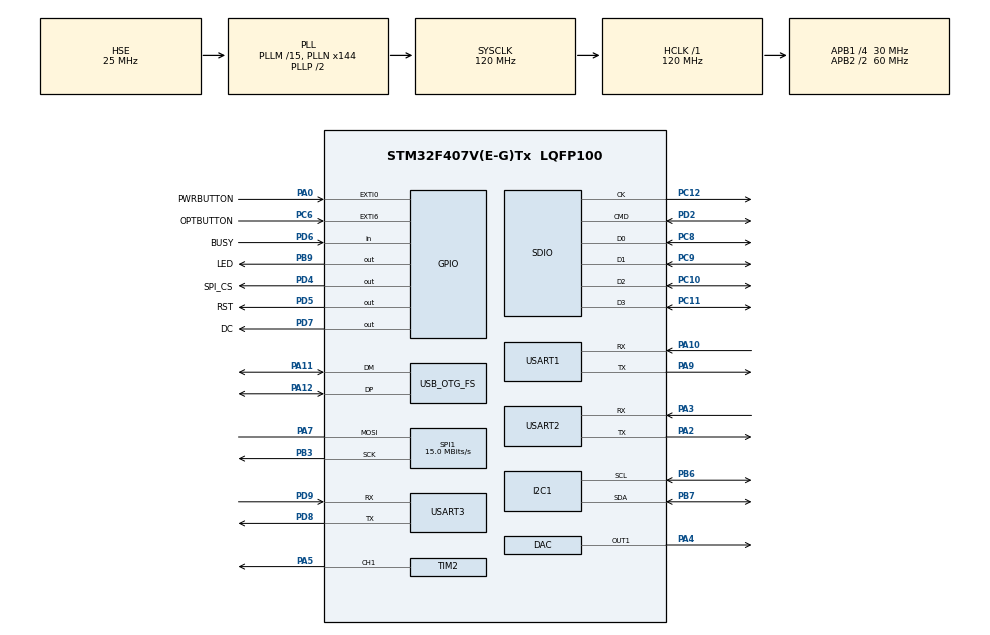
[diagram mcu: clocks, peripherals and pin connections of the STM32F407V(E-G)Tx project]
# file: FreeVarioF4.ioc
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DAC.DAC_Trigger=DAC_TRIGGER_T6_TRGO
Dma.DAC1.0.Direction=DMA_MEMORY_TO_PERIPH
Dma.DAC1.0.FIFOMode=DMA_FIFOMODE_DISABLE
Dma.DAC1.0.Instance=DMA1_Stream5
Dma.DAC1.0.MemDataAlignment=DMA_MDATAALIGN_HALFWORD
Dma.DAC1.0.MemInc=DMA_MINC_ENABLE
Dma.DAC1.0.Mode=DMA_CIRCULAR
Dma.DAC1.0.PeriphDataAlignment=DMA_PDATAALIGN_HALFWORD
Dma.DAC1.0.PeriphInc=DMA_PINC_DISABLE
Dma.DAC1.0.Priority=DMA_PRIORITY_LOW
Dma.Request0=DAC1
Dma.Request1=SDIO_RX
Dma.Request2=SDIO_TX
Dma.Request3=USART3_RX
Dma.Request4=USART1_TX
Dma.SDIO_RX.1.Direction=DMA_PERIPH_TO_MEMORY
Dma.SDIO_RX.1.FIFOMode=DMA_FIFOMODE_ENABLE
Dma.SDIO_RX.1.FIFOThreshold=DMA_FIFO_THRESHOLD_FULL
Dma.SDIO_RX.1.Instance=DMA2_Stream3
Dma.SDIO_RX.1.MemBurst=DMA_MBURST_INC4
Dma.SDIO_RX.1.MemDataAlignment=DMA_MDATAALIGN_WORD
Dma.SDIO_RX.1.MemInc=DMA_MINC_ENABLE
Dma.SDIO_RX.1.Mode=DMA_PFCTRL
Dma.SDIO_RX.1.PeriphBurst=DMA_PBURST_INC4
Dma.SDIO_RX.1.PeriphDataAlignment=DMA_PDATAALIGN_WORD
Dma.SDIO_RX.1.PeriphInc=DMA_PINC_DISABLE
Dma.SDIO_RX.1.Priority=DMA_PRIORITY_LOW
Dma.SDIO_TX.2.Direction=DMA_MEMORY_TO_PERIPH
Dma.SDIO_TX.2.FIFOMode=DMA_FIFOMODE_ENABLE
Dma.SDIO_TX.2.FIFOThreshold=DMA_FIFO_THRESHOLD_FULL
Dma.SDIO_TX.2.Instance=DMA2_Stream6
Dma.SDIO_TX.2.MemBurst=DMA_MBURST_INC4
Dma.SDIO_TX.2.MemDataAlignment=DMA_MDATAALIGN_WORD
Dma.SDIO_TX.2.MemInc=DMA_MINC_ENABLE
Dma.SDIO_TX.2.Mode=DMA_PFCTRL
Dma.SDIO_TX.2.PeriphBurst=DMA_PBURST_INC4
Dma.SDIO_TX.2.PeriphDataAlignment=DMA_PDATAALIGN_WORD
Dma.SDIO_TX.2.PeriphInc=DMA_PINC_DISABLE
Dma.SDIO_TX.2.Priority=DMA_PRIORITY_LOW
Dma.USART1_TX.4.Direction=DMA_MEMORY_TO_PERIPH
Dma.USART1_TX.4.FIFOMode=DMA_FIFOMODE_DISABLE
Dma.USART1_TX.4.Instance=DMA2_Stream7
Dma.USART1_TX.4.MemDataAlignment=DMA_MDATAALIGN_BYTE
Dma.USART1_TX.4.MemInc=DMA_MINC_ENABLE
Dma.USART1_TX.4.Mode=DMA_NORMAL
Dma.USART1_TX.4.PeriphDataAlignment=DMA_PDATAALIGN_BYTE
Dma.USART1_TX.4.PeriphInc=DMA_PINC_DISABLE
Dma.USART1_TX.4.Priority=DMA_PRIORITY_LOW
Dma.USART3_RX.3.Direction=DMA_PERIPH_TO_MEMORY
Dma.USART3_RX.3.FIFOMode=DMA_FIFOMODE_DISABLE
Dma.USART3_RX.3.Instance=DMA1_Stream1
Dma.USART3_RX.3.MemDataAlignment=DMA_MDATAALIGN_BYTE
Dma.USART3_RX.3.MemInc=DMA_MINC_ENABLE
Dma.USART3_RX.3.Mode=DMA_NORMAL
Dma.USART3_RX.3.PeriphDataAlignment=DMA_PDATAALIGN_BYTE
Dma.USART3_RX.3.PeriphInc=DMA_PINC_DISABLE
Dma.USART3_RX.3.Priority=DMA_PRIORITY_LOW
FATFS.BSP.number=1
FATFS._USE_EXPAND=1
FATFS._USE_LFN=3
FATFS0.BSP.STBoard=false
FATFS0.BSP.api=Unknown
FATFS0.BSP.instance=PD6
FATFS0.BSP.ip=GPIO
FATFS0.BSP.mode=Input
FATFS0.BSP.name=Detect_SDIO
FATFS0.BSP.solution=PD6
FREERTOS.INCLUDE_vTaskDelayUntil=1
FREERTOS.Mutexes01=confMutex,Dynamic,NULL;sdCardMutex,Dynamic,NULL
FREERTOS.Tasks01=defaultTask,0,1024,StartDefaultTask,Default,NULL,Dynamic,NULL,NULL;displayTask,-1,2048,StartDisplayTask,Default,NULL,Dynamic,NULL,NULL;sensorsTask,0,1024,StartSensorsTask,Default,NULL,Dynamic,NULL,NULL;gpsTask,0,2048,StartGPSTask,Default,NULL,Dynamic,NULL,NULL;sendDataTask,1,2048,StartSendDataTask,Default,NULL,Dynamic,NULL,NULL;audioTask,0,1024,StartAudioTask,Default,NULL,Dynamic,NULL,NULL;loggerTask,0,2048,StartLoggerTask,Default,NULL,Dynamic,NULL,NULL
FREERTOS.configTOTAL_HEAP_SIZE=54000
I2C1.I2C_Mode=I2C_Fast
Mcu.Family=STM32F4
Mcu.Name=STM32F407V(E-G)Tx
Mcu.Package=LQFP100
NVIC.DMA1_Stream1_IRQn=true\:5\:0\:false\:false\:true\:true\:false
NVIC.DMA1_Stream5_IRQn=true\:5\:0\:false\:false\:true\:true\:false
NVIC.DMA2_Stream3_IRQn=true\:5\:0\:false\:false\:true\:true\:false
NVIC.DMA2_Stream6_IRQn=true\:5\:0\:false\:false\:true\:true\:false
NVIC.DMA2_Stream7_IRQn=true\:5\:0\:false\:false\:true\:true\:false
NVIC.EXTI0_IRQn=true\:5\:0\:false\:false\:true\:true\:true
NVIC.EXTI9_5_IRQn=true\:5\:0\:false\:false\:true\:true\:true
NVIC.OTG_FS_IRQn=true\:5\:0\:false\:false\:true\:true\:false
NVIC.PriorityGroup=NVIC_PRIORITYGROUP_4
NVIC.SDIO_IRQn=true\:5\:0\:false\:false\:true\:true\:true
NVIC.TIM5_IRQn=true\:0\:0\:false\:false\:true\:false\:false
NVIC.TimeBase=TIM5_IRQn
NVIC.TimeBaseIP=TIM5
NVIC.USART1_IRQn=true\:5\:0\:false\:false\:true\:true\:true
NVIC.USART3_IRQn=true\:5\:0\:false\:false\:true\:true\:true
PA0-WKUP.GPIO_Label=PWRBUTTON
PA0-WKUP.GPIO_ModeDefaultEXTI=GPIO_MODE_IT_RISING
PA0-WKUP.Signal=GPXTI0
PA10.Mode=Asynchronous
PA10.Signal=USART1_RX
PA11.Mode=Device_Only
PA11.Signal=USB_OTG_FS_DM
PA12.Mode=Device_Only
PA12.Signal=USB_OTG_FS_DP
PA13.Mode=Serial_Wire
PA13.Signal=SYS_JTMS-SWDIO
PA14.Mode=Serial_Wire
PA14.Signal=SYS_JTCK-SWCLK
PA2.Mode=Asynchronous
PA2.Signal=USART2_TX
PA3.Mode=Asynchronous
PA3.Signal=USART2_RX
PA4.Signal=COMP_DAC1_group
PA5.Signal=S_TIM2_CH1_ETR
PA7.Mode=Simplex_Bidirectional_Master
PA7.Signal=SPI1_MOSI
PA9.Mode=Asynchronous
PA9.Signal=USART1_TX
PB3.Mode=Simplex_Bidirectional_Master
PB3.Signal=SPI1_SCK
PB6.Mode=I2C
PB6.Signal=I2C1_SCL
PB7.Mode=I2C
PB7.Signal=I2C1_SDA
PB9.GPIO_Label=LED
PB9.Signal=GPIO_Output
PC10.GPIO_PuPd=GPIO_PULLUP
PC10.Mode=SD_4_bits_Wide_bus
PC10.Signal=SDIO_D2
PC11.GPIO_PuPd=GPIO_PULLUP
PC11.Mode=SD_4_bits_Wide_bus
PC11.Signal=SDIO_D3
PC12.Mode=SD_4_bits_Wide_bus
PC12.Signal=SDIO_CK
PC14-OSC32_IN.Mode=LSE-External-Oscillator
PC14-OSC32_IN.Signal=RCC_OSC32_IN
PC15-OSC32_OUT.Mode=LSE-External-Oscillator
PC15-OSC32_OUT.Signal=RCC_OSC32_OUT
PC6.GPIO_Label=OPTBUTTON
PC6.Signal=GPXTI6
PC8.GPIO_PuPd=GPIO_PULLUP
PC8.Mode=SD_4_bits_Wide_bus
PC8.Signal=SDIO_D0
PC9.GPIO_PuPd=GPIO_PULLUP
PC9.Mode=SD_4_bits_Wide_bus
PC9.Signal=SDIO_D1
PD2.GPIO_PuPd=GPIO_PULLUP
PD2.Mode=SD_4_bits_Wide_bus
PD2.Signal=SDIO_CMD
PD4.GPIO_Label=SPI_CS
PD4.Signal=GPIO_Output
PD5.GPIO_Label=RST
PD5.Signal=GPIO_Output
PD6.GPIO_Label=BUSY
PD6.Signal=GPIO_Input
PD7.GPIO_Label=DC
PD7.Signal=GPIO_Output
PD8.Mode=Asynchronous
PD8.Signal=USART3_TX
PD9.Mode=Asynchronous
PD9.Signal=USART3_RX
PH0-OSC_IN.Mode=HSE-External-Oscillator
PH0-OSC_IN.Signal=RCC_OSC_IN
PH1-OSC_OUT.Mode=HSE-External-Oscillator
PH1-OSC_OUT.Signal=RCC_OSC_OUT
ProjectManager.HeapSize=0x200
ProjectManager.StackSize=0x400
ProjectManager.TargetToolchain=TrueSTUDIO
RCC.48MHZClocksFreq_Value=48000000
RCC.AHBFreq_Value=120000000
RCC.APB1CLKDivider=RCC_HCLK_DIV4
RCC.APB1Freq_Value=30000000
RCC.APB1TimFreq_Value=60000000
RCC.APB2CLKDivider=RCC_HCLK_DIV2
RCC.APB2Freq_Value=60000000
RCC.APB2TimFreq_Value=120000000
RCC.CortexFreq_Value=120000000
RCC.HCLKFreq_Value=120000000
RCC.HSE_VALUE=25000000
RCC.HSI_VALUE=16000000
RCC.PLLM=15
RCC.PLLN=144
RCC.PLLQ=5
RCC.SYSCLKFreq_VALUE=120000000
RCC.SYSCLKSource=RCC_SYSCLKSOURCE_PLLCLK
RCC.VCOOutputFreq_Value=240000000
SDIO.ClockDiv=0
SH.COMP_DAC1_group.0=DAC_OUT1,DAC_OUT1
SH.S_TIM2_CH1_ETR.0=TIM2_CH1,PWM Generation1 CH1
SPI1.BaudRatePrescaler=SPI_BAUDRATEPRESCALER_4
SPI1.CalculateBaudRate=15.0 MBits/s
SPI1.Direction=SPI_DIRECTION_1LINE
SPI1.Mode=SPI_MODE_MASTER
SPI1.VirtualType=VM_MASTER
TIM2.Channel-PWM\ Generation1\ CH1=TIM_CHANNEL_1
TIM6.TIM_MasterOutputTrigger=TIM_TRGO_UPDATE
USART1.VirtualMode=VM_ASYNC
USART2.VirtualMode=VM_ASYNC
USART3.VirtualMode=VM_ASYNC
USB_DEVICE.CLASS_NAME_FS=CDC
USB_DEVICE.VirtualMode-CDC_FS=Cdc
USB_DEVICE.VirtualModeFS=Cdc_FS
USB_OTG_FS.VirtualMode=Device_Only
VP_FATFS_VS_SDIO.Mode=SDIO
VP_FREERTOS_VS_ENABLE.Mode=Enabled
VP_SYS_VS_tim5.Mode=TIM5
VP_TIM2_VS_ClockSourceINT.Mode=Internal
VP_TIM6_VS_ClockSourceINT.Mode=Enable_Timer
VP_USB_DEVICE_VS_USB_DEVICE_CDC_FS.Mode=CDC_FS
board=custom

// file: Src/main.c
/**
  ******************************************************************************
  * @file           : main.c
  * @brief          : Main program body
  ******************************************************************************
  * This notice applies to any and all portions of this file
  * that are not between comment pairs USER CODE BEGIN and
  * USER CODE END. Other portions of this file, whether
  * inserted by the user or by software development tools
  * are owned by their respective copyright owners.
  *
  * Copyright (c) 2018 STMicroelectronics International N.V.
  * All rights reserved.
  *
  * Redistribution and use in source and binary forms, with or without
  * modification, are permitted, provided that the following conditions are met:
  *
  * 1. Redistribution of source code must retain the above copyright notice,
  *    this list of conditions and the following disclaimer.
  * 2. Redistributions in binary form must reproduce the above copyright notice,
  *    this list of conditions and the following disclaimer in the documentation
  *    and/or other materials provided with the distribution.
  * 3. Neither the name of STMicroelectronics nor the names of other
  *    contributors to this software may be used to endorse or promote products
  *    derived from this software without specific written permission.
  * 4. This software, including modifications and/or derivative works of this
  *    software, must execute solely and exclusively on microcontroller or
  *    microprocessor devices manufactured by or for STMicroelectronics.
  * 5. Redistribution and use of this software other than as permitted under
  *    this license is void and will automatically terminate your rights under
  *    this license.
  *
  * THIS SOFTWARE IS PROVIDED BY STMICROELECTRONICS AND CONTRIBUTORS "AS IS"
  * AND ANY EXPRESS, IMPLIED OR STATUTORY WARRANTIES, INCLUDING, BUT NOT
  * LIMITED TO, THE IMPLIED WARRANTIES OF MERCHANTABILITY, FITNESS FOR A
  * PARTICULAR PURPOSE AND NON-INFRINGEMENT OF THIRD PARTY INTELLECTUAL PROPERTY
  * RIGHTS ARE DISCLAIMED TO THE FULLEST EXTENT PERMITTED BY LAW. IN NO EVENT
  * SHALL STMICROELECTRONICS OR CONTRIBUTORS BE LIABLE FOR ANY DIRECT, INDIRECT,
  * INCIDENTAL, SPECIAL, EXEMPLARY, OR CONSEQUENTIAL DAMAGES (INCLUDING, BUT NOT
  * LIMITED TO, PROCUREMENT OF SUBSTITUTE GOODS OR SERVICES; LOSS OF USE, DATA,
  * OR PROFITS; OR BUSINESS INTERRUPTION) HOWEVER CAUSED AND ON ANY THEORY OF
  * LIABILITY, WHETHER IN CONTRACT, STRICT LIABILITY, OR TORT (INCLUDING
  * NEGLIGENCE OR OTHERWISE) ARISING IN ANY WAY OUT OF THE USE OF THIS SOFTWARE,
  * EVEN IF ADVISED OF THE POSSIBILITY OF SUCH DAMAGE.
  *
  ******************************************************************************
  */
#include "main.h"
#include "stm32f4xx_hal.h"
#include "cmsis_os.h"
#include "dac.h"
#include "dma.h"
#include "fatfs.h"
#include "i2c.h"
#include "sdio.h"
#include "spi.h"
#include "tim.h"
#include "usart.h"
#include "usb_device.h"
#include "gpio.h"

/* USER CODE BEGIN PV */
/* Private variables ---------------------------------------------------------*/

/* USER CODE END PV */

void SystemClock_Config(void);
void MX_FREERTOS_Init(void);

/* USER CODE BEGIN PFP */
/* Private function prototypes -----------------------------------------------*/

/* USER CODE END PFP */

int main(void)
{

  /* MCU Configuration----------------------------------------------------------*/

  /* Reset of all peripherals, Initializes the Flash interface and the Systick. */
  HAL_Init();

  /* Configure the system clock */
  SystemClock_Config();

  /* Initialize all configured peripherals */
  MX_GPIO_Init();
  MX_DMA_Init();
  MX_USART1_UART_Init();
  MX_I2C1_Init();
  MX_SDIO_SD_Init();
  MX_TIM6_Init();
  MX_DAC_Init();
  MX_USART3_UART_Init();
  MX_SPI1_Init();
  MX_USART2_UART_Init();
  MX_TIM2_Init();

  /* Call init function for freertos objects (in freertos.c) */
  MX_FREERTOS_Init();

  /* Start scheduler */
  osKernelStart();

  /* We should never get here as control is now taken by the scheduler */

  /* Infinite loop */
  while (1)
  {

  }

}

void SystemClock_Config(void)
{

  RCC_OscInitTypeDef RCC_OscInitStruct;
  RCC_ClkInitTypeDef RCC_ClkInitStruct;

    /**Configure the main internal regulator output voltage
    */
  __HAL_RCC_PWR_CLK_ENABLE();

  __HAL_PWR_VOLTAGESCALING_CONFIG(PWR_REGULATOR_VOLTAGE_SCALE1);

    /**Initializes the CPU, AHB and APB busses clocks
    */
  RCC_OscInitStruct.OscillatorType = RCC_OSCILLATORTYPE_HSE;
  RCC_OscInitStruct.HSEState = RCC_HSE_ON;
  RCC_OscInitStruct.PLL.PLLState = RCC_PLL_ON;
  RCC_OscInitStruct.PLL.PLLSource = RCC_PLLSOURCE_HSE;
  RCC_OscInitStruct.PLL.PLLM = 15;
  RCC_OscInitStruct.PLL.PLLN = 144;
  RCC_OscInitStruct.PLL.PLLP = RCC_PLLP_DIV2;
  RCC_OscInitStruct.PLL.PLLQ = 5;
  if (HAL_RCC_OscConfig(&RCC_OscInitStruct) != HAL_OK)
  {
    _Error_Handler(__FILE__, __LINE__);
  }

    /**Initializes the CPU, AHB and APB busses clocks
    */
  RCC_ClkInitStruct.ClockType = RCC_CLOCKTYPE_HCLK|RCC_CLOCKTYPE_SYSCLK
                              |RCC_CLOCKTYPE_PCLK1|RCC_CLOCKTYPE_PCLK2;
  RCC_ClkInitStruct.SYSCLKSource = RCC_SYSCLKSOURCE_PLLCLK;
  RCC_ClkInitStruct.AHBCLKDivider = RCC_SYSCLK_DIV1;
  RCC_ClkInitStruct.APB1CLKDivider = RCC_HCLK_DIV4;
  RCC_ClkInitStruct.APB2CLKDivider = RCC_HCLK_DIV2;

  if (HAL_RCC_ClockConfig(&RCC_ClkInitStruct, FLASH_LATENCY_3) != HAL_OK)
  {
    _Error_Handler(__FILE__, __LINE__);
  }

    /**Configure the Systick interrupt time
    */
  HAL_SYSTICK_Config(HAL_RCC_GetHCLKFreq()/1000);

    /**Configure the Systick
    */
  HAL_SYSTICK_CLKSourceConfig(SYSTICK_CLKSOURCE_HCLK);

  /* SysTick_IRQn interrupt configuration */
  HAL_NVIC_SetPriority(SysTick_IRQn, 15, 0);
}

void HAL_TIM_PeriodElapsedCallback(TIM_HandleTypeDef *htim)
{
  if (htim->Instance == TIM5) {
    HAL_IncTick();
  }
}

void _Error_Handler(char *file, int line)
{
  while(1)
  {
  }
}

/************************ (C) COPYRIGHT STMicroelectronics *****END OF FILE****/

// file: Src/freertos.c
/* USER CODE BEGIN Header */
/**
 ******************************************************************************
 * File Name          : freertos.c
 * Description        : Code for freertos applications
 ******************************************************************************
 * This notice applies to any and all portions of this file
 * that are not between comment pairs USER CODE BEGIN and
 * USER CODE END. Other portions of this file, whether
 * inserted by the user or by software development tools
 * are owned by their respective copyright owners.
 *
 * Copyright (c) 2018 STMicroelectronics International N.V.
 * All rights reserved.
 *
 * Redistribution and use in source and binary forms, with or without
 * modification, are permitted, provided that the following conditions are met:
 *
 * 1. Redistribution of source code must retain the above copyright notice,
 *    this list of conditions and the following disclaimer.
 * 2. Redistributions in binary form must reproduce the above copyright notice,
 *    this list of conditions and the following disclaimer in the documentation
 *    and/or other materials provided with the distribution.
 * 3. Neither the name of STMicroelectronics nor the names of other
 *    contributors to this software may be used to endorse or promote products
 *    derived from this software without specific written permission.
 * 4. This software, including modifications and/or derivative works of this
 *    software, must execute solely and exclusively on microcontroller or
 *    microprocessor devices manufactured by or for STMicroelectronics.
 * 5. Redistribution and use of this software other than as permitted under
 *    this license is void and will automatically terminate your rights under
 *    this license.
 *
 * THIS SOFTWARE IS PROVIDED BY STMICROELECTRONICS AND CONTRIBUTORS "AS IS"
 * AND ANY EXPRESS, IMPLIED OR STATUTORY WARRANTIES, INCLUDING, BUT NOT
 * LIMITED TO, THE IMPLIED WARRANTIES OF MERCHANTABILITY, FITNESS FOR A
 * PARTICULAR PURPOSE AND NON-INFRINGEMENT OF THIRD PARTY INTELLECTUAL PROPERTY
 * RIGHTS ARE DISCLAIMED TO THE FULLEST EXTENT PERMITTED BY LAW. IN NO EVENT
 * SHALL STMICROELECTRONICS OR CONTRIBUTORS BE LIABLE FOR ANY DIRECT, INDIRECT,
 * INCIDENTAL, SPECIAL, EXEMPLARY, OR CONSEQUENTIAL DAMAGES (INCLUDING, BUT NOT
 * LIMITED TO, PROCUREMENT OF SUBSTITUTE GOODS OR SERVICES; LOSS OF USE, DATA,
 * OR PROFITS; OR BUSINESS INTERRUPTION) HOWEVER CAUSED AND ON ANY THEORY OF
 * LIABILITY, WHETHER IN CONTRACT, STRICT LIABILITY, OR TORT (INCLUDING
 * NEGLIGENCE OR OTHERWISE) ARISING IN ANY WAY OUT OF THE USE OF THIS SOFTWARE,
 * EVEN IF ADVISED OF THE POSSIBILITY OF SUCH DAMAGE.
 *
 ******************************************************************************
 */
/* USER CODE END Header */

#include "FreeRTOS.h"
#include "task.h"
#include "main.h"
#include "cmsis_os.h"

/* USER CODE BEGIN Includes */
#include <displaytask.h>
#include <globaldata.h>
#include <readsensors.h>
#include "fatfs.h"
#include "audio.h"
#include <sd_hal_mpu6050.h>
#include "gps.h"
#include <string.h>
#include "nmea.h"
#include "usbd_cdc_if.h"
#include "datalog.h"
/* USER CODE END Includes */

/* USER CODE BEGIN PM */
#define SENDBUFFER 256
/* USER CODE END PM */

/* USER CODE BEGIN Variables */

/* FV CCM memory allocation-----------------------------------------------------*/
unsigned char * frame_buffer[EPD_WIDTH * EPD_HEIGHT / 8] __attribute__((section(".ccmram")));
Paint  paint __attribute__((section(".ccmram")));
SensorData sensors __attribute__((section(".ccmram")));
ActivityData activity __attribute__((section(".ccmram")));
DataLog datalog __attribute__((section(".ccmram")));
gps_t  hgps __attribute__((section(".ccmram")));
settings_t conf __attribute__((section(".ccmram")));
uint8_t nmeasendbuffer[SENDBUFFER] __attribute__((section(".ccmram")));
/*-----------------------------------------------------------------------------*/

/* FV Task allocation----------------------------------------------------------*/

TaskHandle_t xReceiveNotify = NULL;
TaskHandle_t xSendDataNotify = NULL;
TaskHandle_t xDisplayNotify = NULL;
TaskHandle_t xLogDataNotify = NULL;

/* FV Queues  -----------------------------------------------------------------*/

QueueHandle_t uartQueueHandle;

/* FV Semaphores and Mutexes---------------------------------------------------*/

/*-----------------------------------------------------------------------------*/

extern UART_HandleTypeDef huart1;
extern UART_HandleTypeDef huart3;
extern char SDPath[4]; /* SD logical drive path */
extern FATFS SDFatFS; /* File system object for SD logical drive */
__IO uint8_t UserPowerButton = 0;
__IO uint8_t UserOptButton = 0;
uint8_t SDcardMounted = 0;

/* USER CODE END Variables */
osThreadId defaultTaskHandle;
osThreadId displayTaskHandle;
osThreadId sensorsTaskHandle;
osThreadId gpsTaskHandle;
osThreadId sendDataTaskHandle;
osThreadId audioTaskHandle;
osThreadId loggerTaskHandle;
osMutexId confMutexHandle;
osMutexId sdCardMutexHandle;

/* USER CODE BEGIN FunctionPrototypes */

void HAL_UART_RxCpltCallback(UART_HandleTypeDef *UartHandle) {

	BaseType_t xHigherPriorityTaskWoken = pdFALSE;
	vTaskNotifyGiveFromISR(xReceiveNotify, &xHigherPriorityTaskWoken);

	xReceiveNotify = NULL;
	portYIELD_FROM_ISR(xHigherPriorityTaskWoken);

}

void HAL_UART_RxIdleCallback(UART_HandleTypeDef *UartHandle) {
	__HAL_UART_DISABLE_IT(UartHandle, UART_IT_IDLE);
//
//		BaseType_t xHigherPriorityTaskWoken = pdFALSE;
//		vTaskNotifyGiveFromISR( xTaskToNotify, &xHigherPriorityTaskWoken );
//		xTaskToNotify = NULL;
//	    portYIELD_FROM_ISR( xHigherPriorityTaskWoken );

}

void HAL_UART_TxCpltCallback(UART_HandleTypeDef *UartHandle) {

	BaseType_t xHigherPriorityTaskWoken = pdFALSE;
	vTaskNotifyGiveFromISR(xSendDataNotify, &xHigherPriorityTaskWoken);
	xSendDataNotify = NULL;
	portYIELD_FROM_ISR(xHigherPriorityTaskWoken);

}

/**
 * @brief EXTI line detection callbacks
 * @param GPIO_Pin: Specifies the pins connected EXTI line
 * @retval None
 */
void HAL_GPIO_EXTI_Callback(uint16_t GPIO_Pin) {
	if (GPIO_Pin == PWRBUTTON_Pin) {
		/* Set the variable: button pressed */
		if (HAL_GetTick() > 5000) {
			UserPowerButton = 1;
		}
	}else if (GPIO_Pin == OPTBUTTON_Pin) {

		UserOptButton = 1;

	}

}

/**
  * @brief  This function configures the system to enter Standby mode for
  *         current consumption measurement purpose.
  *         STANDBY Mode
  *         ============
  *           - Backup SRAM and RTC OFF
  *           - IWDG and LSI OFF
  *           - Wakeup using WakeUp Pin (PA.00)
  * @param  None
  * @retval None
  */
void StandbyMode(void)
{
  /* Enable Power Clock*/
  __HAL_RCC_PWR_CLK_ENABLE();

  /* Allow access to Backup */
  HAL_PWR_EnableBkUpAccess();

  /* Reset RTC Domain */
  __HAL_RCC_BACKUPRESET_FORCE();
  __HAL_RCC_BACKUPRESET_RELEASE();

  /* Disable all used wakeup sources: Pin1(PA.0) */
  HAL_PWR_DisableWakeUpPin(PWR_WAKEUP_PIN1);

  /* Clear all related wakeup flags */
  __HAL_PWR_CLEAR_FLAG(PWR_FLAG_WU);

  /* Re-enable all used wakeup sources: Pin1(PA.0) */
  HAL_PWR_EnableWakeUpPin(PWR_WAKEUP_PIN1);

  /* Request to enter STANDBY mode  */
  HAL_PWR_EnterSTANDBYMode();
}

/* USER CODE END FunctionPrototypes */

void StartDefaultTask(void const * argument);
void StartDisplayTask(void const * argument);
void StartSensorsTask(void const * argument);
void StartGPSTask(void const * argument);
void StartSendDataTask(void const * argument);
void StartAudioTask(void const * argument);
void StartLoggerTask(void const * argument);

extern void MX_FATFS_Init(void);
extern void MX_USB_DEVICE_Init(void);
void MX_FREERTOS_Init(void); /* (MISRA C 2004 rule 8.1) */

void MX_FREERTOS_Init(void) {

  /* Create the mutex(es) */
  /* definition and creation of confMutex */
  osMutexDef(confMutex);
  confMutexHandle = osMutexCreate(osMutex(confMutex));

  /* definition and creation of sdCardMutex */
  osMutexDef(sdCardMutex);
  sdCardMutexHandle = osMutexCreate(osMutex(sdCardMutex));

  /* Create the thread(s) */
  /* definition and creation of defaultTask */
  osThreadDef(defaultTask, StartDefaultTask, osPriorityNormal, 0, 1024);
  defaultTaskHandle = osThreadCreate(osThread(defaultTask), NULL);

  /* definition and creation of displayTask */
  osThreadDef(displayTask, StartDisplayTask, osPriorityBelowNormal, 0, 2048);
  displayTaskHandle = osThreadCreate(osThread(displayTask), NULL);

  /* definition and creation of sensorsTask */
  osThreadDef(sensorsTask, StartSensorsTask, osPriorityNormal, 0, 1024);
  sensorsTaskHandle = osThreadCreate(osThread(sensorsTask), NULL);

  /* definition and creation of gpsTask */
  osThreadDef(gpsTask, StartGPSTask, osPriorityNormal, 0, 2048);
  gpsTaskHandle = osThreadCreate(osThread(gpsTask), NULL);

  /* definition and creation of sendDataTask */
  osThreadDef(sendDataTask, StartSendDataTask, osPriorityAboveNormal, 0, 2048);
  sendDataTaskHandle = osThreadCreate(osThread(sendDataTask), NULL);

  /* definition and creation of audioTask */
  osThreadDef(audioTask, StartAudioTask, osPriorityNormal, 0, 1024);
  audioTaskHandle = osThreadCreate(osThread(audioTask), NULL);

  /* definition and creation of loggerTask */
  osThreadDef(loggerTask, StartLoggerTask, osPriorityNormal, 0, 2048);
  loggerTaskHandle = osThreadCreate(osThread(loggerTask), NULL);

  /* USER CODE BEGIN RTOS_QUEUES */
	/* add queues, ... */

	uartQueueHandle = xQueueCreate(2, SENDBUFFER);

  /* USER CODE END RTOS_QUEUES */
}

void StartDefaultTask(void const * argument)
{
  /* init code for FATFS */
  MX_FATFS_Init();

  /* init code for USB_DEVICE */
  MX_USB_DEVICE_Init();

  /* USER CODE BEGIN StartDefaultTask */
	//BSP_SD_Init();
  xSemaphoreGive(confMutexHandle);
  xSemaphoreGive(sdCardMutexHandle);

  uint8_t switchs=0;

  memset(&activity, 0, sizeof(activity));

  if ( xSemaphoreTake( sdCardMutexHandle, ( TickType_t ) 500 ) == pdTRUE) {
		if ( xSemaphoreTake( confMutexHandle, ( TickType_t ) 100 ) == pdTRUE) {
			if (f_mount(&SDFatFS, SDPath, 0) == FR_OK) { //Mount SD card
				SDcardMounted =1;
			}
			loadConfigFromSD();
			xSemaphoreGive(confMutexHandle);
		}
		xSemaphoreGive(sdCardMutexHandle);
  }

	/* Infinite loop */
	for (;;) {

		if  (UserPowerButton) {
			UserPowerButton = 0;
			xTaskNotify(xDisplayNotify,0x01,eSetValueWithOverwrite);
			while(HAL_GPIO_ReadPin(PWRBUTTON_GPIO_Port,PWRBUTTON_Pin) == GPIO_PIN_SET) { //wait for button to be released
			}
			f_mount(0, "0:", 1); //unmount SDCARD

			osDelay(4000);
			StandbyMode();
		}
		if (UserOptButton) {

			osDelay(10); //debouncer

			if (switchs) {
				activity.landed = 1;
				switchs=0;
			} else {
				switchs =1;
				activity.takeOff = 1;
			}

			UserOptButton = 0;

		}

		//Flight Operations

		if (activity.takeOff && !activity.isFlying) { //took off

				activity.currentLogID = conf.lastLogNumber + 1;
				activity.takeoffLocationLAT = (int32_t)(hgps.latitude*1000000);
				activity.takeoffLocationLON = (int32_t)(hgps.longitude*1000000);
				activity.takeoffTemp = sensors.temperature;
				activity.takeoffTime = hgps.date;
				activity.isFlying = 1;

			xTaskNotify(xLogDataNotify, 0x01, eSetValueWithOverwrite);
		}

		if (activity.isFlying) { //flying

				if (sensors.AltitudeMeters > activity.MaxAltitudeMeters)
					activity.MaxAltitudeMeters = sensors.AltitudeMeters;
				if (sensors.VarioMs > activity.MaxVarioMs)
					activity.MaxVarioMs = sensors.VarioMs;
				if (sensors.VarioMs < activity.MaxVarioSinkMs)
					activity.MaxVarioSinkMs = sensors.VarioMs;

		}

		if (activity.landed) {

				activity.landingAltitude = sensors.AltitudeMeters;
				activity.landingLocationLAT = (int32_t)(hgps.latitude*1000000);
				activity.landingLocationLON = (int32_t)(hgps.longitude*1000000);
				activity.MaxAltitudeGainedMeters = activity.MaxAltitudeMeters - activity.takeoffAltitude;
				activity.landed = 0;
				activity.isFlying = 0;
				activity.takeOff = 0;
				conf.lastLogNumber = activity.currentLogID;

			xTaskNotify(xLogDataNotify, 0x03, eSetValueWithOverwrite);

		}

		osDelay(100);
	}
  /* USER CODE END StartDefaultTask */
}

void StartDisplayTask(void const * argument)
{
  /* USER CODE BEGIN StartDisplayTask */
	//unsigned char * frame_buffer = (unsigned char*)malloc(EPD_WIDTH * EPD_HEIGHT / 8);
	memset(frame_buffer , 0, EPD_WIDTH * EPD_HEIGHT / 8);
	configASSERT(xDisplayNotify == NULL);
	uint32_t ulNotifiedValue;
	BaseType_t xResult;
	 TickType_t xMaxBlockTime;
	 TickType_t times;
	 xDisplayNotify = xTaskGetCurrentTaskHandle();
		EPD epd;
		displayTaskSetup(&paint,&epd, frame_buffer);

	/* Infinite loop */
	for (;;) {
		times = xTaskGetTickCount();
		 displayTaskUpdate(&paint,&epd,frame_buffer);

		 TickType_t waittime = abs( 500 - (xTaskGetTickCount() - times) ) ;
		 if (waittime > 500) waittime = 500;
		 xMaxBlockTime = pdMS_TO_TICKS(waittime);

		 xResult = xTaskNotifyWait( pdFALSE,    /* Don't clear bits on entry. */
		                            pdTRUE,        /* Clear all bits on exit. */
		                            &ulNotifiedValue, /* Stores the notified value. */
		                            xMaxBlockTime );
		 if( xResult == pdPASS )
		      {
		         /* A notification was received.  See which bits were set. */
		         if(  ulNotifiedValue == 1 )
		         {
		        	 displayMessageShutdown(&paint,&epd,frame_buffer);
		        	 osDelay(4000); //just sleep till shutdown
		         }

		         if(  ulNotifiedValue == 2 )
		         {

		         }
		      }

	}
  /* USER CODE END StartDisplayTask */
}

void StartSensorsTask(void const * argument)
{
  /* USER CODE BEGIN StartSensorsTask */

	TickType_t times;
	TickType_t startTime = xTaskGetTickCount();
	const TickType_t xDelay = 50; //20hz
	uint8_t timetosend = 1;
	BMP280_HandleTypedef bmp280;
	SD_MPU6050 mpu1;
	memset(&sensors, 0, sizeof(sensors));

	sensors.humidity = 0;
	sensors.pressure = 0;
	sensors.temperature = 0;
	sensors.barotakeoff = 0;

	setupReadSensorsBMP280(&bmp280);
	setupReadSensorsMPU6050(&mpu1);
	osDelay(100);

	/* Infinite loop */
	for (;;) {
		times = xTaskGetTickCount();
		timetosend++;
		readSensorsBMP280(&bmp280);
		readSensorsMPU6050(&mpu1);

		if ((timetosend >= 2)) { //every 100 ticks
			calculateVario100ms();
		}

		if ((timetosend >= 4)
				& ((xTaskGetTickCount() - startTime) > STARTDELAY)) { //every 200 ticks
			timetosend = 1;

			memset(nmeasendbuffer, 0, SENDBUFFER);
			NMEA_getPTAS1(nmeasendbuffer, sensors.VarioMs, sensors.VarioMs,
					sensors.AltitudeMeters);
			NMEA_getnmeaShortLXWP0(nmeasendbuffer, sensors.AltitudeMeters,
					sensors.VarioMs);
			NMEA_getNmeaLK8EX1(nmeasendbuffer, sensors.pressure, sensors.AltitudeMeters,
					sensors.VarioMs, sensors.temperature, 8000);
			NMEA_getNmeaPcProbe(nmeasendbuffer, sensors.accel_x, sensors.accel_y,
					sensors.accel_z, sensors.temperature, sensors.humidity, 100,
					0);
			xQueueSendToBack(uartQueueHandle, nmeasendbuffer, 10);

		}

#if defined(TAKEOFFVARIO) && !defined(TESTBUZZER)
		if ((int) xTaskGetTickCount() > (STARTDELAY + 4000)
				&& !sensors.barotakeoff) {
			if (abs(sensors.VarioMs) > TAKEOFFVARIO) {
				sensors.barotakeoff = true;

			}

		}
#else
		sensors.barotakeoff = true;
#endif

		vTaskDelayUntil(&times, xDelay);
	}
  /* USER CODE END StartSensorsTask */
}

void StartGPSTask(void const * argument)
{
  /* USER CODE BEGIN StartGPSTask */
	gps_init(&hgps);
	uint8_t buffer[SENDBUFFER]; //DMA buffer can't use ccm
	uint8_t rcvdCount;
	configASSERT(xReceiveNotify == NULL);
	__HAL_UART_ENABLE_IT(&huart3, UART_IT_IDLE);

	/* Infinite loop */
	for (;;) {
		memset(buffer, 0, sizeof(buffer));
		__HAL_UART_CLEAR_IDLEFLAG(&huart3);
		__HAL_UART_ENABLE_IT(&huart3, UART_IT_IDLE);

		if (HAL_UART_Receive_DMA(&huart3, buffer, sizeof(buffer)) != HAL_OK) {
			// error
		}
		xReceiveNotify = xTaskGetCurrentTaskHandle();
		ulTaskNotifyTake( pdTRUE, portMAX_DELAY);

		rcvdCount = sizeof(buffer) - huart3.hdmarx->Instance->NDTR;
		HAL_UART_DMAStop(&huart3);

		gps_process(&hgps, &buffer, sizeof(buffer));
		xQueueSendToBack(uartQueueHandle, buffer, 10);

	}
  /* USER CODE END StartGPSTask */
}

void StartSendDataTask(void const * argument)
{
  /* USER CODE BEGIN StartSendDataTask */

	configASSERT(xSendDataNotify == NULL);
	const TickType_t xMaxBlockTime = pdMS_TO_TICKS(500);
	/* Infinite loop */
	for (;;) {
		uint8_t receiveqBuffer[SENDBUFFER];

		xQueueReceive(uartQueueHandle, &receiveqBuffer, portMAX_DELAY);
		uint16_t buffsize = strlen((char *) receiveqBuffer);
//TODO: move outside loop
		xSendDataNotify = xTaskGetCurrentTaskHandle();

		HAL_UART_Transmit_DMA(&huart1, (uint8_t *) &receiveqBuffer, buffsize); //Usart global interupt must be enabled for this to work
		CDC_Transmit_FS((uint8_t *) &receiveqBuffer, buffsize);
		//HAL_GPIO_TogglePin(LED_GPIO_Port, LED_Pin);
		ulTaskNotifyTake( pdTRUE, xMaxBlockTime);

		osDelay(1);
	}
  /* USER CODE END StartSendDataTask */
}

void StartAudioTask(void const * argument)
{
  /* USER CODE BEGIN StartAudioTask */
	//testvarss
//    int step=0;
//	int t_vario=-5000;
//	uint32_t times=0;
	//
	audio_t audiorun;
	audiorun.multiplier = 2000000;
	uint8_t running = 0;

	setupAudio(&audiorun);
	/* Infinite loop */
	for (;;) {

		if (xTaskGetTickCount() > STARTDELAY) {
			running = 1;
		}

		// uint32_t i =xTaskGetTickCount() - times;

//	  if (i > 1000) {
//	    times = xTaskGetTickCount();
//	    if(t_vario <= -5000) step = 100;
//		if(t_vario >= 9000) step = -100;
//		HAL_GPIO_TogglePin(LED_GPIO_Port, LED_Pin);
//		t_vario += step;
//	  }
		if (running) {
		if (sensors.barotakeoff) {
				makeVarioAudio(&audiorun, sensors.VarioMs); //flying
			}
		}

		osDelay(10);
	}
  /* USER CODE END StartAudioTask */
}

void StartLoggerTask(void const * argument)
{
  /* USER CODE BEGIN StartLoggerTask */

	TickType_t times;
	const TickType_t xDelay = 1000;
	FIL  dataLogFile;
	uint32_t ulNotifiedValue;
	BaseType_t xResult;
	TickType_t xMaxBlockTime;
	configASSERT(xLogDataNotify == NULL);
	xLogDataNotify = xTaskGetCurrentTaskHandle();
	datalog.isLogging=0;
	osDelay(4000); //wait for setup of environment
	/* Infinite loop */
	for (;;) {

		times = xTaskGetTickCount();

		if (!SDcardMounted) { //can't continue without a SD card
			xLogDataNotify = NULL;
			vTaskSuspend( NULL);
		}

		xMaxBlockTime = pdMS_TO_TICKS(500);

		xResult = xTaskNotifyWait( pdFALSE, /* Don't clear bits on entry. */
		pdTRUE, /* Clear all bits on exit. */
		&ulNotifiedValue, /* Stores the notified value. */
		xMaxBlockTime);

		if (xResult == pdPASS) {
			/* A notification was received.  See which bits were set. */
			if (ulNotifiedValue == 1) { //started

				osDelay(200); //wait to stabilize data
				if ( xSemaphoreTake(sdCardMutexHandle,
						(TickType_t ) 600) == pdTRUE) {
					writeFlightLogSummaryFile();
					osDelay(100);
					uint8_t devnotready = 1;
					uint8_t timeout=0;
					//openDataLogFile(&dataLogFile);
					while (devnotready) {

						timeout++;
						if(openDataLogFile(&dataLogFile)) {
							datalog.isLogging = 1;
							devnotready = 0;
						}
						osDelay(2000);
						if (timeout > 2) devnotready = 0;
					}

					xSemaphoreGive(sdCardMutexHandle);
				}
			}

			if (ulNotifiedValue  == 2) { //flying

			}

			if (ulNotifiedValue == 3) { //landed
				if ( xSemaphoreTake(sdCardMutexHandle,
						(TickType_t ) 600) == pdTRUE) {
					if (datalog.isLogging) {

						datalog.isLogging = 0;
						closeDataLogFile(&dataLogFile);
					}
					writeFlightLogSummaryFile();
					xSemaphoreGive(sdCardMutexHandle);
				}
			}
		}

		if (datalog.isLogging) {

			if ( xSemaphoreTake(sdCardMutexHandle,
					(TickType_t ) 600) == pdTRUE) {
				HAL_GPIO_TogglePin(LED_GPIO_Port, LED_Pin);
				writeDataLogFile(&dataLogFile);

				xSemaphoreGive(sdCardMutexHandle);
			}
		}
		vTaskDelayUntil(&times, xDelay);
	}

  /* USER CODE END StartLoggerTask */
}

/************************ (C) COPYRIGHT STMicroelectronics *****END OF FILE****/
